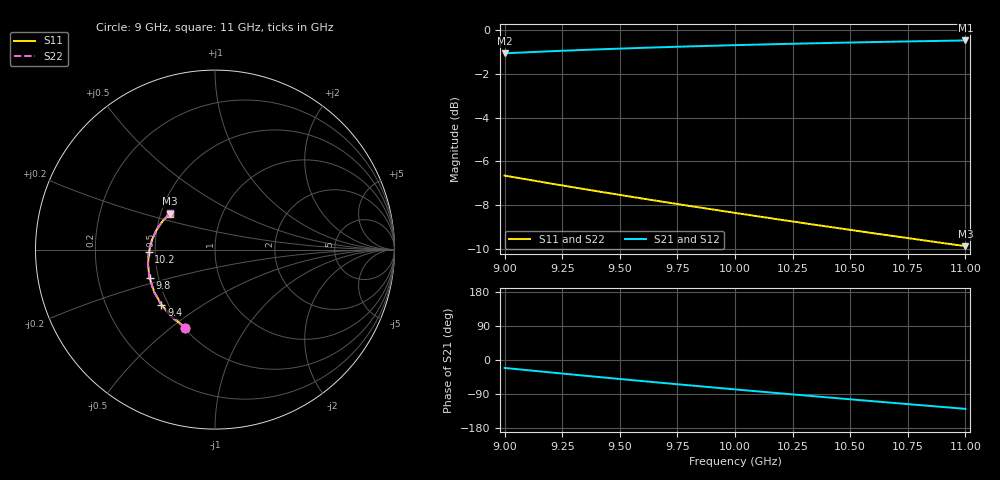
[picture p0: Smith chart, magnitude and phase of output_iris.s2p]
! Touchstone file generated by RapidFEM
! Ports: 2
# GHZ S RI R 50
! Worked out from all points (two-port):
!   11 points, 9 GHz to 11 GHz, reference 50 ohm
!   highest |S21| = -0.47 dB at 11 GHz (marker M1); lowest = -1.1 dB at 9 GHz (marker M2)
!   |S21| within 3 dB of the highest: start of sweep to end of sweep
!   lowest |S11| = -9.9 dB at 11 GHz (marker M3), VSWR 1.95, Z = 27.9 + j12.5 ohm
!   |S11| at or under -10 dB: nowhere
!   |S22| runs from -9.9 to -6.6 dB; largest |S21 - S12| = 0
!   S11 on the Smith chart (normalised r, x): 9 GHz: 0.51, -0.56; 9.4 GHz: 0.46, -0.35; 9.8 GHz: 0.45, -0.17; 10.2 GHz: 0.46, -0.01; 11 GHz: 0.56, +0.25
9  -0.1645 -0.4353  0.8268 -0.316  0.8268 -0.316  -0.1678 -0.434
9.2  -0.2406 -0.376  0.7518 -0.4853  0.7518 -0.4853  -0.2436 -0.374
9.4  -0.2988 -0.3074  0.6451 -0.6324  0.6451 -0.6324  -0.3014 -0.3049
9.6  -0.3397 -0.2337  0.5131 -0.7528  0.5131 -0.7528  -0.3417 -0.2307
9.8  -0.364 -0.1582  0.3622 -0.8433  0.3622 -0.8433  -0.3654 -0.155
10  -0.3731 -0.084  0.199 -0.9022  0.199 -0.9022  -0.3738 -0.0807
10.2  -0.3686 -0.0135  0.0298 -0.929  0.0298 -0.929  -0.3687 -0.0102
10.4  -0.3522 0.0515  -0.1393 -0.924  -0.1393 -0.924  -0.3517 0.0546
10.6  -0.3258 0.1095  -0.303 -0.8888  -0.303 -0.8888  -0.3249 0.1123
10.8  -0.2914 0.1594  -0.4561 -0.8256  -0.4561 -0.8256  -0.2901 0.1618
11  -0.2507 0.2005  -0.5944 -0.7372  -0.5944 -0.7372  -0.2492 0.2025
